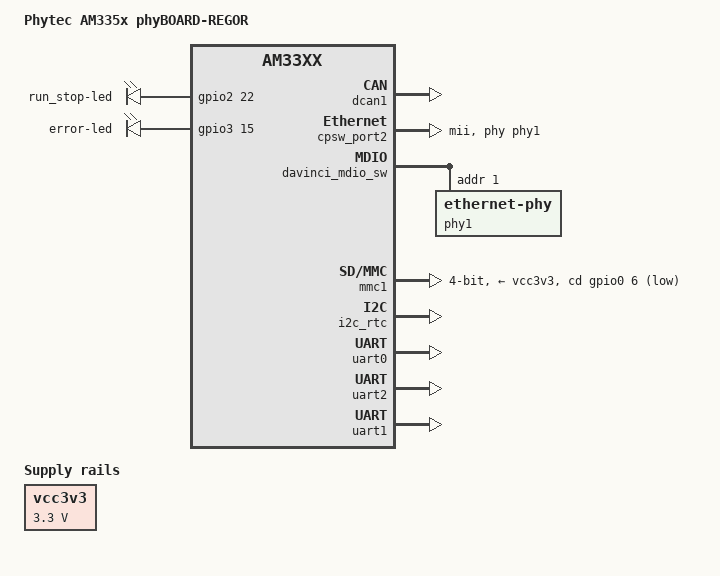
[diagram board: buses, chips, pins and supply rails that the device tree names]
// SPDX-License-Identifier: GPL-2.0
/*
 * Copyright (C) 2019 Phytec Messtechnik GmbH
 * Author: Teresa Remmet <t.remmet@phytec.de>
 *
 */

#include <dt-bindings/gpio/gpio.h>
#include <dt-bindings/pinctrl/am33xx.h>

/ {
	model = "Phytec AM335x phyBOARD-REGOR";
	compatible = "phytec,am335x-regor", "phytec,am335x-phycore-som", "ti,am33xx";

	vcc3v3: fixedregulator@1 {
		compatible = "regulator-fixed";
		regulator-name = "vcc3v3";
		regulator-min-microvolt = <3300000>;
		regulator-max-microvolt = <3300000>;
		regulator-boot-on;
	};

	/* User IO */
	user_leds: user-leds {
		compatible = "gpio-leds";
		pinctrl-names = "default";
		pinctrl-0 = <&user_leds_pins>;

		run_stop-led {
			gpios = <&gpio2 22 GPIO_ACTIVE_HIGH>;
			linux,default-trigger = "gpio";
			default-state = "off";
		};

		error-led {
			gpios = <&gpio3 15 GPIO_ACTIVE_HIGH>;
			linux,default-trigger = "gpio";
			default-state = "off";
		};
	};
};

/* User Leds */
&am33xx_pinmux {
	user_leds_pins: pinmux-user-leds-pins {
		pinctrl-single,pins = <
			AM33XX_PADCONF(AM335X_PIN_LCD_VSYNC, PIN_OUTPUT_PULLDOWN, MUX_MODE7)	/* lcd_hsync.gpio2_22 */
			AM33XX_PADCONF(AM335X_PIN_MCASP0_FSX, PIN_OUTPUT_PULLDOWN, MUX_MODE7)	/* mcasp0_fsx.gpio3_15 */
		>;
	};
};

/* CAN Busses */
&am33xx_pinmux {
	dcan1_pins: pinmux-dcan1-pins {
		pinctrl-single,pins = <
			AM33XX_PADCONF(AM335X_PIN_UART0_CTSN, PIN_OUTPUT_PULLUP, MUX_MODE2)	/* uart0_ctsn.d_can1_tx */
			AM33XX_PADCONF(AM335X_PIN_UART0_RTSN, PIN_INPUT_PULLUP, MUX_MODE2)	/* uart0_rtsn.d_can1_rx */
		>;
	};
};

&dcan1 {
	pinctrl-names = "default";
	pinctrl-0 = <&dcan1_pins>;
	status = "okay";
};

/* Ethernet */
&am33xx_pinmux {
	ethernet1_pins: pinmux-ethernet1-pins {
		pinctrl-single,pins = <
			AM33XX_PADCONF(AM335X_PIN_GPMC_A0, PIN_OUTPUT, MUX_MODE1)		/* gpmc_a0.mii2_txen */
			AM33XX_PADCONF(AM335X_PIN_GPMC_A1, PIN_INPUT_PULLDOWN, MUX_MODE1)	/* gpmc_a1.mii2_rxdv */
			AM33XX_PADCONF(AM335X_PIN_GPMC_A2, PIN_OUTPUT, MUX_MODE1)		/* gpmc_a2.mii2_txd3 */
			AM33XX_PADCONF(AM335X_PIN_GPMC_A3, PIN_OUTPUT, MUX_MODE1)		/* gpmc_a3.mii2_txd2 */
			AM33XX_PADCONF(AM335X_PIN_GPMC_A4, PIN_OUTPUT, MUX_MODE1)		/* gpmc_a4.mii2_txd1 */
			AM33XX_PADCONF(AM335X_PIN_GPMC_A5, PIN_OUTPUT, MUX_MODE1)		/* gpmc_a5.mii2_txd0 */
			AM33XX_PADCONF(AM335X_PIN_GPMC_A6, PIN_INPUT_PULLDOWN, MUX_MODE1)	/* gpmc_a6.mii2_txclk */
			AM33XX_PADCONF(AM335X_PIN_GPMC_A7, PIN_INPUT_PULLDOWN, MUX_MODE1)	/* gpmc_a7.mii2_rxclk */
			AM33XX_PADCONF(AM335X_PIN_GPMC_A8, PIN_INPUT_PULLDOWN, MUX_MODE1)	/* gpmc_a8.mii2_rxd3 */
			AM33XX_PADCONF(AM335X_PIN_GPMC_A9, PIN_INPUT_PULLDOWN, MUX_MODE1)	 /* gpmc_a9.mii2_rxd2 */
			AM33XX_PADCONF(AM335X_PIN_GPMC_A10, PIN_INPUT_PULLDOWN, MUX_MODE1)	/* gpmc_a10.mii2_rxd1 */
			AM33XX_PADCONF(AM335X_PIN_GPMC_A11, PIN_INPUT_PULLDOWN, MUX_MODE1)	/* gpmc_a11.mii2_rxd0 */
			AM33XX_PADCONF(AM335X_PIN_GPMC_WPN, PIN_INPUT_PULLDOWN, MUX_MODE1)	/* gpmc_wpn.mii2_rxerr */
			AM33XX_PADCONF(AM335X_PIN_GPMC_BEN1, PIN_INPUT_PULLDOWN, MUX_MODE1)	/* gpmc_ben1.mii2_col */
		>;
	};
};

&cpsw_port2 {
	status = "okay";
	phy-handle = <&phy1>;
	phy-mode = "mii";
	ti,dual-emac-pvid = <2>;
};

&davinci_mdio_sw {
	phy1: ethernet-phy@1 {
		reg = <1>;
	};
};

&mac_sw {
	pinctrl-names = "default";
	pinctrl-0 = <&ethernet0_pins &ethernet1_pins>;
};

/* GPIOs */
&am33xx_pinmux {
	pinctrl-names = "default";
	pinctrl-0 = <&user_gpios_pins>;

	user_gpios_pins: pinmux-user-gpios-pins {
		pinctrl-single,pins = <
			/* DIGIN 1-4 */
			AM33XX_PADCONF(AM335X_PIN_GPMC_AD11, PIN_INPUT, MUX_MODE7)		/* gpmc_ad11.gpio0_27 */
			AM33XX_PADCONF(AM335X_PIN_GPMC_AD10, PIN_INPUT, MUX_MODE7)		/* gpmc_ad10.gpio0_26 */
			AM33XX_PADCONF(AM335X_PIN_GPMC_AD9, PIN_INPUT, MUX_MODE7)		/* gpmc_ad9.gpio0_23 */
			AM33XX_PADCONF(AM335X_PIN_GPMC_AD8, PIN_INPUT, MUX_MODE7)		/* gpmc_ad8.gpio0_22 */
			/* DIGOUT 1-4 */
			AM33XX_PADCONF(AM335X_PIN_GPMC_AD15, PIN_OUTPUT, MUX_MODE7)		/* gpmc_ad15.gpio1_15 */
			AM33XX_PADCONF(AM335X_PIN_GPMC_AD14, PIN_OUTPUT, MUX_MODE7)		/* gpmc_ad14.gpio1_14 */
			AM33XX_PADCONF(AM335X_PIN_GPMC_AD13, PIN_OUTPUT, MUX_MODE7)		/* gpmc_ad13.gpio1_13 */
			AM33XX_PADCONF(AM335X_PIN_GPMC_AD12, PIN_OUTPUT, MUX_MODE7)		/* gpmc_ad12.gpio1_12 */
		>;
	};
};

/* MMC */
&am33xx_pinmux {
	mmc1_pins: pinmux-mmc1-pins {
		pinctrl-single,pins = <
			AM33XX_PADCONF(AM335X_PIN_MMC0_DAT3, PIN_INPUT_PULLUP, MUX_MODE0)
			AM33XX_PADCONF(AM335X_PIN_MMC0_DAT2, PIN_INPUT_PULLUP, MUX_MODE0)
			AM33XX_PADCONF(AM335X_PIN_MMC0_DAT1, PIN_INPUT_PULLUP, MUX_MODE0)
			AM33XX_PADCONF(AM335X_PIN_MMC0_DAT0, PIN_INPUT_PULLUP, MUX_MODE0)
			AM33XX_PADCONF(AM335X_PIN_MMC0_CLK, PIN_INPUT_PULLUP, MUX_MODE0)
			AM33XX_PADCONF(AM335X_PIN_MMC0_CMD, PIN_INPUT_PULLUP, MUX_MODE0)
			AM33XX_PADCONF(AM335X_PIN_SPI0_CS1, PIN_INPUT_PULLUP, MUX_MODE7)	/* spi0_cs1.mmc0_sdcd */
		>;
	};
};

&mmc1 {
	vmmc-supply = <&vcc3v3>;
	bus-width = <4>;
	pinctrl-names = "default";
	pinctrl-0 = <&mmc1_pins>;
	cd-gpios = <&gpio0 6 GPIO_ACTIVE_LOW>;
	status = "okay";
};

/* RTC */
&i2c_rtc {
	status = "okay";
};

/* UARTs */
&am33xx_pinmux {
	uart0_pins: pinmux-uart0-pins {
		pinctrl-single,pins = <
			AM33XX_PADCONF(AM335X_PIN_UART0_RXD, PIN_INPUT_PULLUP, MUX_MODE0)
			AM33XX_PADCONF(AM335X_PIN_UART0_TXD, PIN_OUTPUT_PULLDOWN, MUX_MODE0)
		>;
	};

	uart2_pins: pinmux-uart2-pins {
		pinctrl-single,pins = <
			AM33XX_PADCONF(AM335X_PIN_MII1_TX_CLK, PIN_INPUT_PULLUP, MUX_MODE1)	/* mii1_tx_clk.uart2_rxd */
			AM33XX_PADCONF(AM335X_PIN_MII1_RX_CLK, PIN_OUTPUT_PULLDOWN, MUX_MODE1)	/* mii1_rx_clk.uart2_txd */
		>;
	};
};

&uart0 {
	pinctrl-names = "default";
	pinctrl-0 = <&uart0_pins>;
	status = "okay";
};

&uart2 {
	pinctrl-names = "default";
	pinctrl-0 = <&uart2_pins>;
	status = "okay";
};

/* RS485 - UART1 */
&am33xx_pinmux {
	uart1_rs485_pins: pinmux-uart1-rs485-pins {
		pinctrl-single,pins = <
			AM33XX_PADCONF(AM335X_PIN_UART1_RXD, PIN_INPUT_PULLUP, MUX_MODE0)
			AM33XX_PADCONF(AM335X_PIN_UART1_TXD, PIN_OUTPUT_PULLDOWN, MUX_MODE0)
			AM33XX_PADCONF(AM335X_PIN_UART1_RTSN, PIN_OUTPUT_PULLDOWN, MUX_MODE0)
		>;
	};
};

&uart1 {
	pinctrl-names = "default";
	pinctrl-0 = <&uart1_rs485_pins>;
	status = "okay";
	linux,rs485-enabled-at-boot-time;
	/*
	 * un-intuitively, yet with the default (active-high),
	 * am335x RTS is high on idle and gets low on active !
	 */
	rs485-rts-active-low;
};
